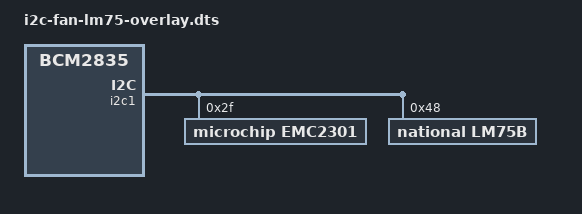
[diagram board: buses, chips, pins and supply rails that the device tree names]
/dts-v1/;
/plugin/;
/ {
        compatible = "brcm,bcm2835";

	fragment@0 {
		target = <&i2c1>;
		__overlay__ {
			#address-cells = <1>;
			#size-cells = <0>;
			status = "okay";
			emc2301: emc2301@2f {
				compatible = "microchip,emc2301";
				reg = <0x2f>;
                		#cooling-cells = <2>;

			};
			lm75b: lm75b@48 {
				compatible = "national,lm75b";
				reg = <0x48>;
				#thermal-sensor-cells = <0>;
			};
		};
	};
	fragment@1 {
		target-path = "/thermal-zones";
		__overlay__ {
			sata_thermal: sata-thermal {
				polling-delay-passive = <1000>;
				polling-delay = <1000>;
				thermal-sensors = <&lm75b>;
				sensor_trips: trips {
					temp_crit: temp-crit {
						temperature = <65000>;
						hysteresis = <0>;
						type = "critical";
					};
					temp_hot: temp-hot {
						temperature = <40000>;
						hysteresis = <3000>;
						type = "active";
					};

					temp_vhot: temp-vhot {
						temperature = <55000>;
						hysteresis = <5000>;
						type = "active";
					};
				};

				cooling_maps: cooling-maps {
					hot {
						trip = <&temp_hot>;
						cooling-device = <&emc2301 2 6>;
					};


					vhot {
						trip = <&temp_vhot>;
						cooling-device = <&emc2301 7 9>;
					};
					melt {
						trip = <&temp_crit>;
						cooling-device = <&emc2301 10 10>;
					};
				};
			};
		};
	};
};
